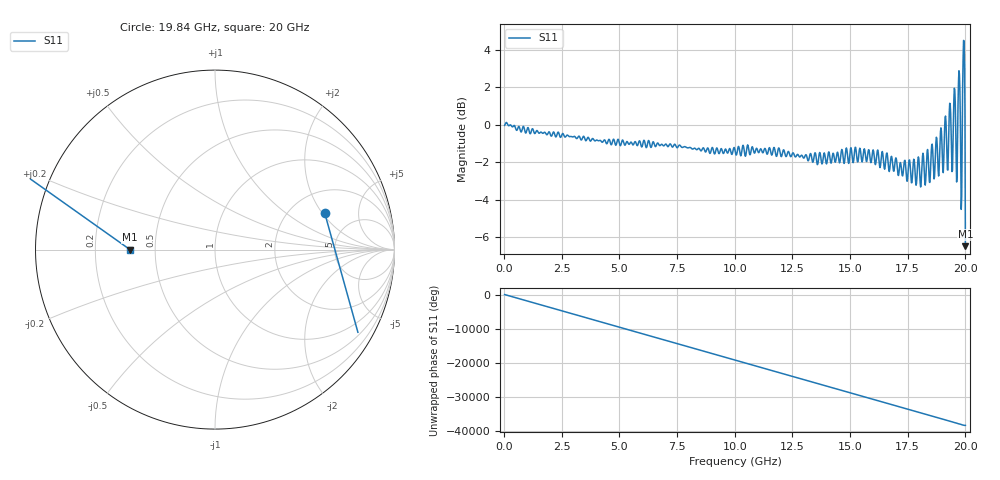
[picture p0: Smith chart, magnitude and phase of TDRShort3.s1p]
! File created by SignalIntegrity v1.3.3: Signal and Power Integrity Tools
! https://github.com/TeledyneLeCroy/SignalIntegrity
# MHz S MA R 50.0
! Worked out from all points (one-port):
!   1000 points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, 20 MHz to 20 GHz, reference 50 ohm
!   lowest |S11| = -6.5 dB at 20 GHz (marker M1), VSWR 2.80, Z = 17.9 + j2.67e-15 ohm
!   |S11| at or under -10 dB: nowhere
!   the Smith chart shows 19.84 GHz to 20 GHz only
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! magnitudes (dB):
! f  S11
! 20 MHz  0.0
! 2.52 GHz  -0.5
! 5.02 GHz  -1.1
! 7.52 GHz  -1.2
! 10.02 GHz  -1.4
! 12.52 GHz  -1.5
! 15.02 GHz  -1.3
! 16.1 GHz  -2.1
! 17.52 GHz  -2.4
! 18.16 GHz  -1.5
! 18.56 GHz  -1.0
! 18.66 GHz  -2.8
! 18.74 GHz  -0.7
! 18.84 GHz  -2.7
! 18.94 GHz  -0.2
! 19.04 GHz  -2.6
! 19.14 GHz  0.5
! 19.24 GHz  -2.4
! 19.34 GHz  1.1
! 19.44 GHz  -2.4
! 19.54 GHz  1.9
! 19.64 GHz  -2.7
! 19.74 GHz  2.7
! 19.86 GHz  -0.7
! 19.88 GHz  1.9
! 19.92 GHz  4.5
! 19.96 GHz  3.6
! 20 GHz  -6.5
